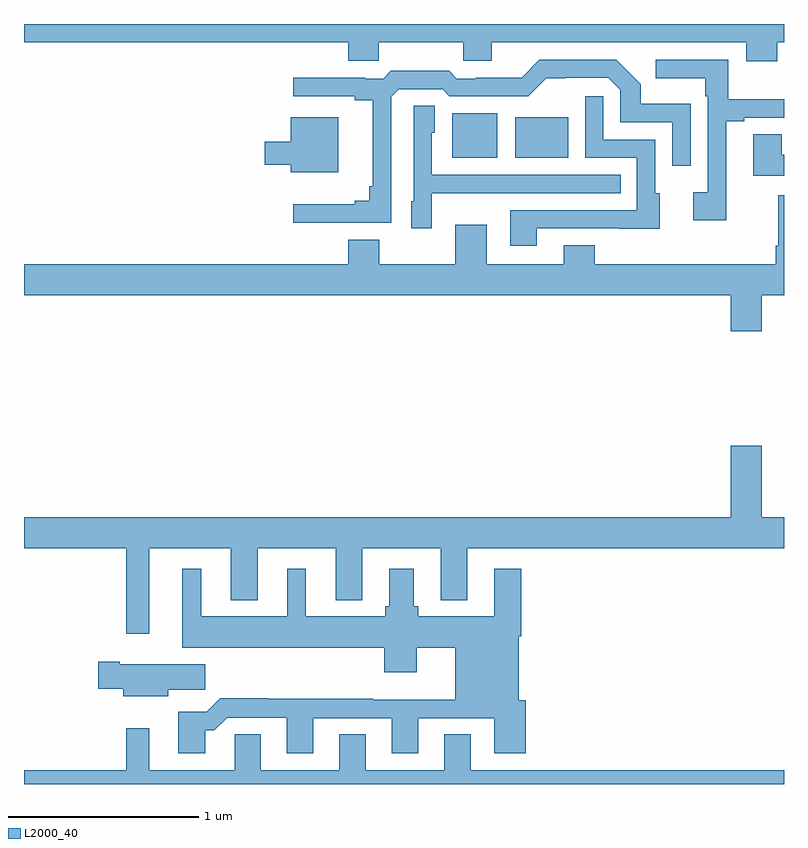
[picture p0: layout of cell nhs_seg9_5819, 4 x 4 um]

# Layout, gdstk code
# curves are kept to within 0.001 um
import gdstk
lib = gdstk.Library(unit=1e-6, precision=1e-09)
def R(c, l, rs):  # rectangles x0, y0, x1, y1
    for r in rs: c.add(gdstk.rectangle(r[:2], r[2:], *l))
def P(c, l, *ps):  # polygons
    for p in ps: c.add(gdstk.Polygon(p, *l))
L2000_40 = (2000, 40)

nhs_seg9_5819 = lib.new_cell('nhs_seg9_5819')
R(nhs_seg9_5819, L2000_40, [(451.253,1211.795,451.492,1212.031), (451.586,1211.795,451.864,1212.01)])
P(nhs_seg9_5819, L2000_40, [(452.965,1212.404),(453,1212.404),(453,1212.5),(449,1212.5),(449,1212.404),(450.707,1212.404),(450.707,1212.306),(450.867,1212.306),(450.867,1212.404),(451.312,1212.404),(451.312,1212.306),(451.462,1212.306),(451.462,1212.404),(452.801,1212.404),(452.801,1212.305),(452.965,1212.305)],
  [(450.933,1212.117),(450.972,1212.156),(451.203,1212.156),(451.239,1212.12),(451.653,1212.12),(451.748,1212.215),(452.076,1212.216),(452.139,1212.153),(452.139,1211.982),(452.412,1211.982),(452.412,1211.754),(452.508,1211.754),(452.508,1212.079),(452.247,1212.079),(452.247,1212.182),(452.116,1212.312),(451.713,1212.312),(451.619,1212.218),(451.378,1212.218),(451.378,1212.213),(451.278,1212.213),(451.239,1212.253),(450.931,1212.253),(450.891,1212.213),(450.797,1212.213),(450.797,1212.218),(450.417,1212.218),(450.417,1212.12),(450.74,1212.12),(450.74,1212.098),(450.836,1212.098),(450.836,1211.647),(450.817,1211.647),(450.817,1211.57),(450.74,1211.57),(450.74,1211.551),(450.417,1211.551),(450.417,1211.454),(450.933,1211.454)],
  [(452.695,1211.988),(452.791,1211.988),(452.791,1212.006),(453,1212.006),(453,1212.104),(452.707,1212.104),(452.707,1212.312),(452.325,1212.312),(452.325,1212.215),(452.586,1212.215),(452.586,1212.119),(452.598,1212.119),(452.598,1211.614),(452.523,1211.614),(452.523,1211.466),(452.695,1211.466)],
  [(451.699,1211.424),(452.129,1211.424),(452.129,1211.423),(452.347,1211.423),(452.347,1211.61),(452.322,1211.61),(452.322,1211.892),(452.049,1211.892),(452.049,1212.121),(451.953,1212.121),(451.953,1211.796),(452.226,1211.796),(452.226,1211.52),(451.559,1211.52),(451.559,1211.334),(451.699,1211.334)],
  [(451.146,1211.609),(451.463,1211.609),(451.463,1211.61),(452.141,1211.61),(452.141,1211.706),(451.146,1211.706),(451.146,1211.928),(451.162,1211.928),(451.162,1212.071),(451.05,1212.071),(451.05,1211.568),(451.037,1211.568),(451.037,1211.424),(451.146,1211.424)],
  [(450.655,1212.01),(450.404,1212.01),(450.404,1211.881),(450.267,1211.881),(450.267,1211.759),(450.404,1211.759),(450.404,1211.72),(450.655,1211.72)],
  [(453,1211.812),(452.989,1211.812),(452.989,1211.921),(452.837,1211.921),(452.837,1211.702),(453,1211.702)],
  [(452.884,1211.072),(453,1211.072),(453,1211.599),(452.969,1211.599),(452.969,1211.332),(452.957,1211.332),(452.957,1211.236),(452.005,1211.236),(452.005,1211.335),(451.841,1211.335),(451.841,1211.236),(451.435,1211.236),(451.435,1211.443),(451.271,1211.443),(451.271,1211.236),(450.871,1211.236),(450.871,1211.365),(450.707,1211.365),(450.707,1211.236),(449,1211.236),(449,1211.072),(452.72,1211.072),(452.72,1210.884),(452.884,1210.884)],
  [(449.659,1209.74),(450.089,1209.74),(450.089,1209.467),(450.229,1209.467),(450.229,1209.74),(450.641,1209.74),(450.641,1209.467),(450.781,1209.467),(450.781,1209.74),(451.193,1209.74),(451.193,1209.467),(451.333,1209.467),(451.333,1209.74),(453,1209.74),(453,1209.904),(452.884,1209.904),(452.884,1210.279),(452.72,1210.279),(452.72,1209.904),(449,1209.904),(449,1209.74),(449.538,1209.74),(449.538,1209.291),(449.659,1209.291)],
  [(449.953,1208.783),(450.002,1208.783),(450.069,1208.85),(450.383,1208.85),(450.383,1208.661),(450.523,1208.661),(450.523,1208.847),(450.935,1208.847),(450.935,1208.661),(451.075,1208.661),(451.075,1208.847),(451.475,1208.847),(451.475,1208.661),(451.64,1208.661),(451.64,1208.94),(451.603,1208.94),(451.603,1209.278),(451.616,1209.278),(451.616,1209.634),(451.475,1209.634),(451.475,1209.382),(451.074,1209.382),(451.074,1209.435),(451.051,1209.435),(451.051,1209.634),(450.923,1209.634),(450.923,1209.435),(450.901,1209.435),(450.901,1209.382),(450.484,1209.382),(450.484,1209.634),(450.386,1209.634),(450.386,1209.382),(449.932,1209.382),(449.932,1209.634),(449.834,1209.634),(449.834,1209.218),(450.896,1209.218),(450.896,1209.087),(451.066,1209.087),(451.066,1209.218),(451.271,1209.218),(451.271,1208.944),(450.839,1208.944),(450.839,1208.948),(450.287,1208.948),(450.287,1208.951),(450.032,1208.951),(449.962,1208.881),(449.813,1208.881),(449.813,1208.661),(449.953,1208.661)],
  [(449.758,1208.995),(449.953,1208.995),(449.953,1209.13),(449.503,1209.13),(449.503,1209.143),(449.391,1209.143),(449.391,1209.001),(449.522,1209.001),(449.522,1208.963),(449.758,1208.963)],
  [(453,1208.572),(451.351,1208.572),(451.351,1208.762),(451.211,1208.762),(451.211,1208.572),(450.799,1208.572),(450.799,1208.762),(450.659,1208.762),(450.659,1208.572),(450.247,1208.572),(450.247,1208.762),(450.108,1208.762),(450.108,1208.572),(449.659,1208.572),(449.659,1208.794),(449.538,1208.794),(449.538,1208.572),(449,1208.572),(449,1208.5),(453,1208.5)])

lib.write_gds('nhs_seg9_5819.gds')
